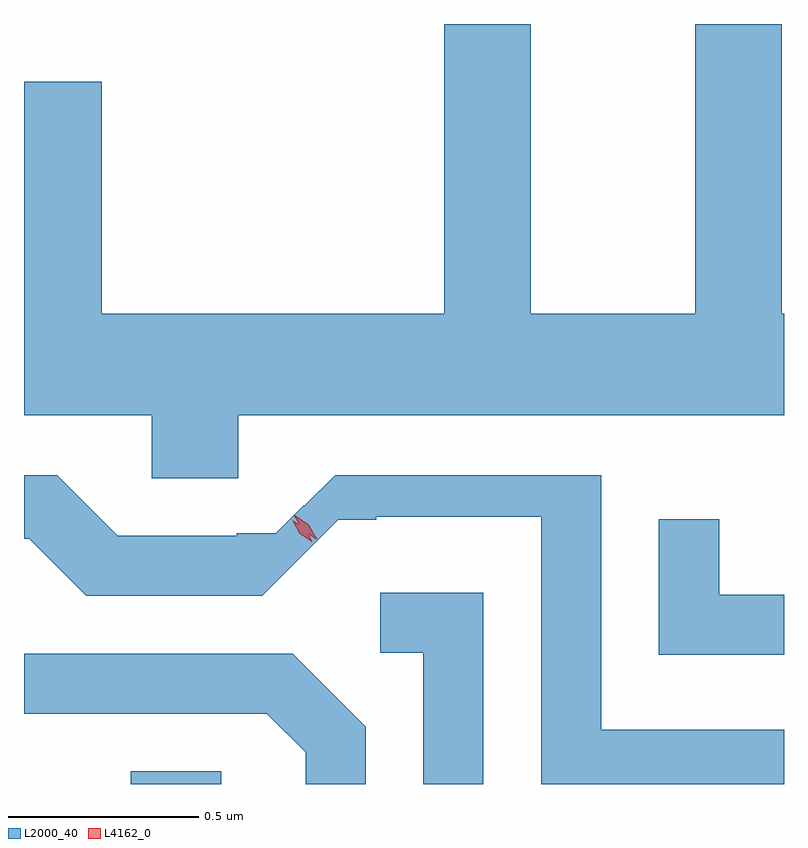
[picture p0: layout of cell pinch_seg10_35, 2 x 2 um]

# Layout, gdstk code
import gdstk
lib = gdstk.Library(unit=1e-6, precision=1e-09)
def R(c, l, rs):  # rectangles x0, y0, x1, y1
    for r in rs: c.add(gdstk.rectangle(r[:2], r[2:], *l))
def P(c, l, *ps):  # polygons
    for p in ps: c.add(gdstk.Polygon(p, *l))
L2000_40 = (2000, 40)
L4162_0 = (4162, 0)

pinch_seg10_35 = lib.new_cell('pinch_seg10_35')
R(pinch_seg10_35, L2000_40, [(595.041,2175.106,595.279,2175.139)])
P(pinch_seg10_35, L2000_40, [(595.324,2176.076),(596.76,2176.076),(596.76,2176.344),(596.754,2176.344),(596.754,2177.106),(596.526,2177.106),(596.526,2176.344),(596.094,2176.344),(596.094,2177.106),(595.866,2177.106),(595.866,2176.344),(594.964,2176.344),(594.964,2176.954),(594.76,2176.954),(594.76,2176.076),(595.096,2176.076),(595.096,2175.911),(595.324,2175.911)],
  [(596.76,2175.249),(596.279,2175.249),(596.279,2175.919),(595.579,2175.919),(595.498,2175.838),(595.496,2175.839),(595.423,2175.766),(595.32,2175.766),(595.32,2175.759),(595.007,2175.759),(594.847,2175.919),(594.76,2175.919),(594.76,2175.751),(594.774,2175.751),(594.924,2175.601),(595.387,2175.601),(595.587,2175.801),(595.687,2175.801),(595.687,2175.809),(596.121,2175.809),(596.121,2175.106),(596.76,2175.106)],
  [(596.76,2175.604),(596.589,2175.604),(596.589,2175.803),(596.431,2175.803),(596.431,2175.446),(596.76,2175.446)],
  [(595.969,2175.609),(595.698,2175.609),(595.698,2175.451),(595.811,2175.451),(595.811,2175.106),(595.969,2175.106)],
  [(595.659,2175.257),(595.467,2175.449),(594.76,2175.449),(594.76,2175.291),(595.399,2175.291),(595.501,2175.189),(595.501,2175.106),(595.659,2175.106)])
P(pinch_seg10_35, L4162_0, [(595.532,2175.749),(595.494,2175.774),(595.471,2175.812),(595.471,2175.813),(595.472,2175.813),(595.509,2175.788),(595.532,2175.749),(595.532,2175.749)],
  [(595.517,2175.744),(595.485,2175.765),(595.467,2175.799),(595.467,2175.8),(595.467,2175.8),(595.5,2175.778),(595.518,2175.744),(595.518,2175.744)])

lib.write_gds('pinch_seg10_35.gds')
